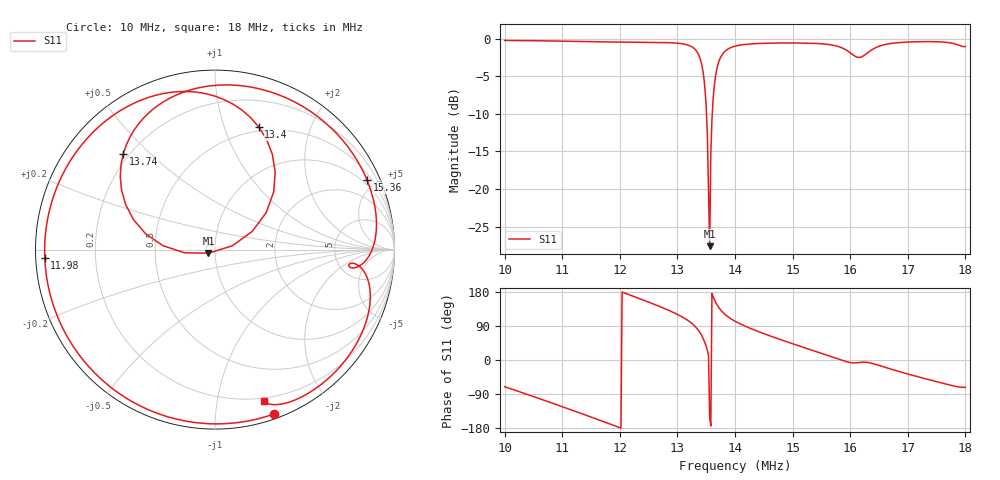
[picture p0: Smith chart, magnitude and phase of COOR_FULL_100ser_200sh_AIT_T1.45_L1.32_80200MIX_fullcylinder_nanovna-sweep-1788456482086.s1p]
! NanoVNA Web complex sweep
! Processing: original sample grid, no browser smoothing
# Hz S RI R 50
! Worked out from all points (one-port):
!   401 points, 10 MHz to 18 MHz, reference 50 ohm
!   lowest |S11| = -27.6 dB at 13.56 MHz (marker M1), VSWR 1.09, Z = 46.4 - j1.85 ohm
!   |S11| at or under -10 dB: 13.5 MHz to 13.61 MHz (100.3 kHz wide, 0.74 % of centre)
!   S11 on the Smith chart (normalised r, x): 10 MHz: 0.04, -1.42; 11.98 MHz: 0.03, -0.02; 13.4 MHz: 0.45, +1.32; 13.74 MHz: 0.18, +0.41; 15.36 MHz: 0.76, +4.46; 18 MHz: 0.17, -1.36
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1e7  0.3261 -0.9169
1.05e7  -0.1078 -0.9639
1.1e7  -0.526 -0.8069
1.152e7  -0.8399 -0.4545
1.198e7  -0.9485 -0.0446
1.2e7  -0.9492 -0.0257
1.252e7  -0.8322 0.4506
1.3e7  -0.4713 0.8057
1.326e7  -0.0837 0.8744
1.34e7  0.2435 0.6839
1.348e7  0.3267 0.3206
1.352e7  0.2067 0.1005
1.356e7  -0.0366 -0.0199
1.358e7  -0.1708 -0.0177
1.364e7  -0.4546 0.1675
1.374e7  -0.5117 0.5314
1.386e7  -0.3723 0.7587
1.4e7  -0.1918 0.871
1.442e7  0.2537 0.8942
1.5e7  0.6859 0.6377
1.536e7  0.847 0.3876
1.572e7  0.8976 0.095
1.6e7  0.8001 -0.092
1.632e7  0.809 -0.097
1.66e7  0.8635 -0.2981
1.7e7  0.7591 -0.5713
1.76e7  0.4604 -0.8316
1.8e7  0.2728 -0.8446
